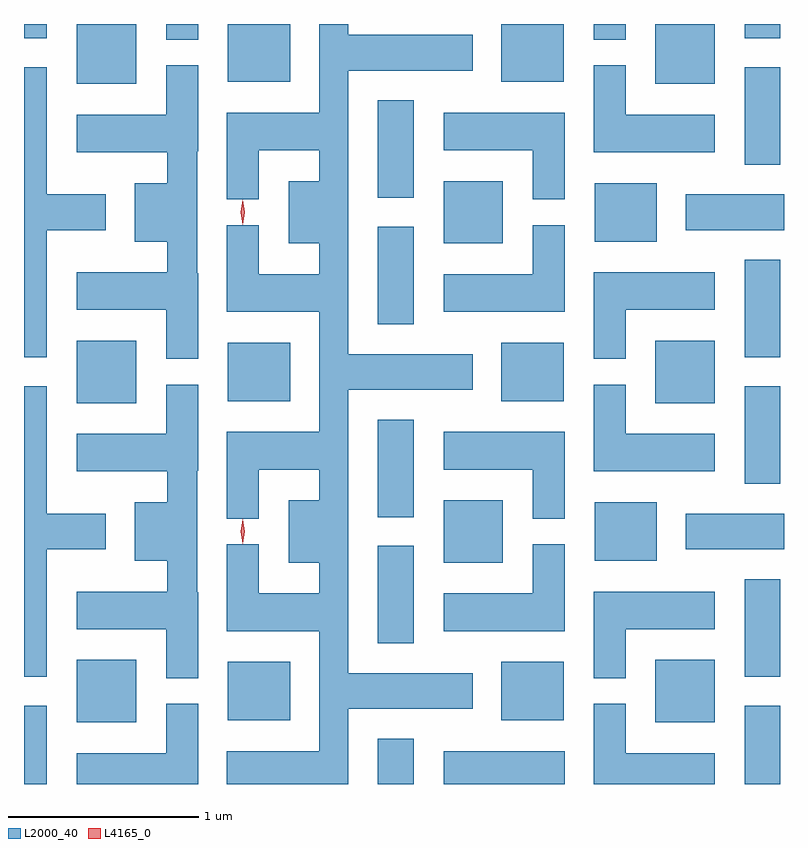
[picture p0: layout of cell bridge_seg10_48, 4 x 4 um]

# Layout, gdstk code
import gdstk
lib = gdstk.Library(unit=1e-6, precision=1e-09)
def R(c, l, rs):  # rectangles x0, y0, x1, y1
    for r in rs: c.add(gdstk.rectangle(r[:2], r[2:], *l))
def P(c, l, *ps):  # polygons
    for p in ps: c.add(gdstk.Polygon(p, *l))
L2000_40 = (2000, 40)
L4165_0 = (4165, 0)

bridge_seg10_48 = lib.new_cell('bridge_seg10_48')
R(bridge_seg10_48, L2000_40, [(1623.853,2174.561,1623.974,2174.974), (1625.716,2174.561,1625.904,2174.799), (1626.061,2174.561,1626.699,2174.734), (1627.646,2174.561,1627.834,2174.974), (1624.131,2174.886,1624.444,2175.214), (1627.176,2174.886,1627.489,2175.214), (1624.926,2174.896,1625.254,2175.204), (1626.366,2174.896,1626.694,2175.204), (1627.646,2175.126,1627.834,2175.639), (1625.716,2175.301,1625.904,2175.814), (1626.061,2175.726,1626.374,2176.054), (1626.856,2175.736,1627.184,2176.044), (1627.336,2175.796,1627.853,2175.984), (1625.716,2175.966,1625.904,2176.479), (1627.646,2176.141,1627.834,2176.654), (1624.131,2176.566,1624.444,2176.894), (1627.176,2176.566,1627.489,2176.894), (1624.926,2176.576,1625.254,2176.884), (1626.366,2176.576,1626.694,2176.884), (1627.646,2176.806,1627.834,2177.319), (1625.716,2176.981,1625.904,2177.494), (1626.061,2177.406,1626.374,2177.734), (1626.856,2177.416,1627.184,2177.724), (1627.336,2177.476,1627.853,2177.664), (1625.716,2177.646,1625.904,2178.159), (1627.646,2177.821,1627.834,2178.334), (1624.131,2178.246,1624.444,2178.561), (1627.176,2178.246,1627.489,2178.561), (1624.926,2178.256,1625.254,2178.561), (1626.366,2178.256,1626.694,2178.561), (1624.601,2178.478,1624.769,2178.561), (1626.851,2178.478,1627.019,2178.561), (1623.853,2178.486,1623.974,2178.561), (1627.646,2178.486,1627.834,2178.561)])
P(bridge_seg10_48, L2000_40, [(1625.559,2174.956),(1626.214,2174.956),(1626.214,2175.144),(1625.559,2175.144),(1625.559,2176.636),(1626.214,2176.636),(1626.214,2176.824),(1625.559,2176.824),(1625.559,2178.316),(1626.214,2178.316),(1626.214,2178.504),(1625.559,2178.504),(1625.559,2178.561),(1625.406,2178.561),(1625.406,2178.094),(1624.921,2178.094),(1624.921,2177.638),(1625.089,2177.638),(1625.089,2177.896),(1625.406,2177.896),(1625.406,2177.734),(1625.246,2177.734),(1625.246,2177.406),(1625.406,2177.406),(1625.406,2177.244),(1625.089,2177.244),(1625.089,2177.503),(1624.921,2177.503),(1624.921,2177.046),(1625.406,2177.046),(1625.406,2176.414),(1624.921,2176.414),(1624.921,2175.958),(1625.089,2175.958),(1625.089,2176.216),(1625.406,2176.216),(1625.406,2176.054),(1625.246,2176.054),(1625.246,2175.726),(1625.406,2175.726),(1625.406,2175.564),(1625.089,2175.564),(1625.089,2175.823),(1624.921,2175.823),(1624.921,2175.366),(1625.406,2175.366),(1625.406,2174.734),(1624.921,2174.734),(1624.921,2174.561),(1625.559,2174.561)],
  [(1624.769,2177.25),(1624.764,2177.25),(1624.764,2177.89),(1624.769,2177.89),(1624.769,2178.343),(1624.601,2178.343),(1624.601,2178.084),(1624.131,2178.084),(1624.131,2177.886),(1624.606,2177.886),(1624.606,2177.724),(1624.436,2177.724),(1624.436,2177.416),(1624.606,2177.416),(1624.606,2177.254),(1624.131,2177.254),(1624.131,2177.056),(1624.601,2177.056),(1624.601,2176.798),(1624.769,2176.798)],
  [(1627.489,2178.084),(1627.019,2178.084),(1627.019,2178.343),(1626.851,2178.343),(1626.851,2177.886),(1627.489,2177.886)],
  [(1623.974,2177.476),(1624.284,2177.476),(1624.284,2177.664),(1623.974,2177.664),(1623.974,2178.334),(1623.853,2178.334),(1623.853,2176.806),(1623.974,2176.806)],
  [(1626.699,2178.094),(1626.061,2178.094),(1626.061,2177.896),(1626.531,2177.896),(1626.531,2177.638),(1626.699,2177.638)],
  [(1626.699,2177.503),(1626.531,2177.503),(1626.531,2177.244),(1626.061,2177.244),(1626.061,2177.046),(1626.699,2177.046)],
  [(1627.019,2177.056),(1627.489,2177.056),(1627.489,2177.254),(1626.851,2177.254),(1626.851,2176.798),(1627.019,2176.798)],
  [(1627.489,2176.404),(1627.019,2176.404),(1627.019,2176.663),(1626.851,2176.663),(1626.851,2176.206),(1627.489,2176.206)],
  [(1624.769,2175.57),(1624.764,2175.57),(1624.764,2176.21),(1624.769,2176.21),(1624.769,2176.663),(1624.601,2176.663),(1624.601,2176.404),(1624.131,2176.404),(1624.131,2176.206),(1624.606,2176.206),(1624.606,2176.044),(1624.436,2176.044),(1624.436,2175.736),(1624.606,2175.736),(1624.606,2175.574),(1624.131,2175.574),(1624.131,2175.376),(1624.601,2175.376),(1624.601,2175.118),(1624.769,2175.118)],
  [(1623.974,2175.796),(1624.284,2175.796),(1624.284,2175.984),(1623.974,2175.984),(1623.974,2176.654),(1623.853,2176.654),(1623.853,2175.126),(1623.974,2175.126)],
  [(1626.699,2176.414),(1626.061,2176.414),(1626.061,2176.216),(1626.531,2176.216),(1626.531,2175.958),(1626.699,2175.958)],
  [(1626.699,2175.823),(1626.531,2175.823),(1626.531,2175.564),(1626.061,2175.564),(1626.061,2175.366),(1626.699,2175.366)],
  [(1627.019,2175.376),(1627.489,2175.376),(1627.489,2175.574),(1626.851,2175.574),(1626.851,2175.118),(1627.019,2175.118)],
  [(1624.769,2174.983),(1624.601,2174.983),(1624.601,2174.724),(1624.131,2174.724),(1624.131,2174.561),(1624.769,2174.561)],
  [(1627.489,2174.724),(1627.019,2174.724),(1627.019,2174.983),(1626.851,2174.983),(1626.851,2174.561),(1627.489,2174.561)])
P(bridge_seg10_48, L4165_0, [(1625.005,2175.824),(1625.004,2175.825),(1624.995,2175.89),(1625.004,2175.955),(1625.005,2175.956),(1625.005,2175.955),(1625.015,2175.89),(1625.005,2175.825)],
  [(1625.005,2177.504),(1625.004,2177.505),(1624.995,2177.57),(1625.004,2177.635),(1625.005,2177.636),(1625.005,2177.635),(1625.015,2177.57),(1625.005,2177.505)])

lib.write_gds('bridge_seg10_48.gds')
